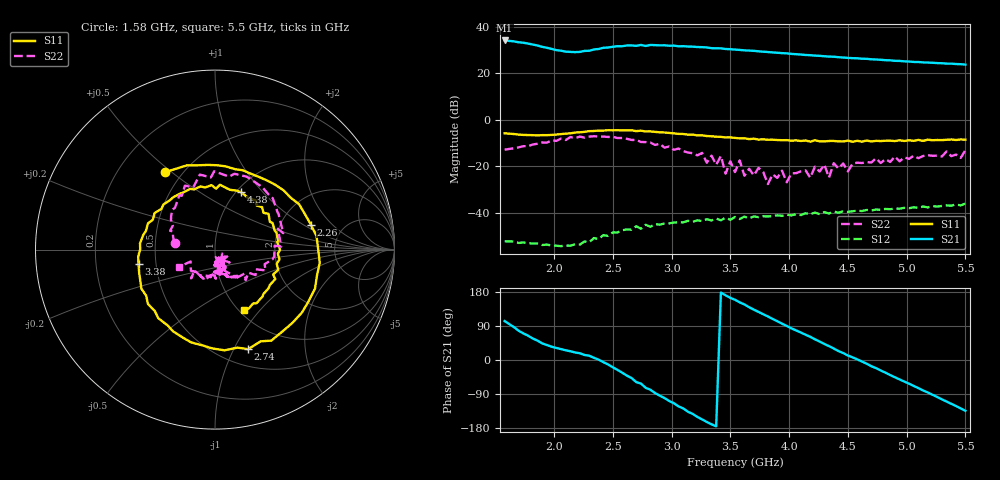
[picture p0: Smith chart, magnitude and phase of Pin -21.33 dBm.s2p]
! RsaToolbox (C) 2015 Rohde & Schwarz America
! Number of points: 98
! Number of ports: 2
! Balanced ports?: No
# Hz S RI R 50
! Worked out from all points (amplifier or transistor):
!   98 points, 1.58 GHz to 5.5 GHz, reference 50 ohm
!   highest |S21| = 34.2 dB at 1.58 GHz (marker M1)
!   |S21| within 3 dB of that: 2.465 GHz to 3.3 GHz (834.9 MHz wide, 29 % of centre)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
!   unconditionally stable (mu >= 1): start of sweep to end of sweep
!   at 2.26 GHz: K = 4.18, MAG = 31.8 dB, |S12| = -52.3 dB
!   at 3.58 GHz: K = 1.93, MAG = 30.9 dB, |S12| = -42.7 dB
!   at 5.5 GHz: K = 1.74, MAG = 24.9 dB, |S12| = -36.0 dB
!   S11 on the Smith chart (normalised r, x): 1.58 GHz: 0.41, +0.47; 2.26 GHz: 2.94, +1.18; 2.74 GHz: 0.68, -1.14; 3.38 GHz: 0.40, -0.08; 4.38 GHz: 1.05, +0.77; 5.5 GHz: 1.05, -0.82
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1.58e9  -0.2775 0.4317  -11.29 49.84  0.00116 -0.00213  -0.2256 0.035
1.7e9  -0.0996 0.4697  10.48 45.48  0.000557 -0.00217  -0.235 0.1011
1.82e9  0.0596 0.4638  22.92 34.83  -0.000155 -0.00216  -0.2451 0.1645
2.02e9  0.2921 0.3839  26.85 16.65  -0.000351 -0.00193  -0.1855 0.2994
2.26e9  0.5342 0.1391  29.62 6.908  -0.000736 -0.0023  0.0784 0.4064
2.38e9  0.5835 -0.0727  33.53 0.5427  -0.000885 -0.00257  0.2095 0.3851
2.54e9  0.4838 -0.3513  34.49 -16.88  -0.00226 -0.00301  0.3495 0.2055
2.74e9  0.1846 -0.5547  19.08 -36.2  -0.00419 -0.00171  0.3323 0.0211
2.9e9  -0.0654 -0.5349  -2.89 -39.92  -0.00553 -0.000136  0.282 -0.1159
3.02e9  -0.2334 -0.4556  -16.21 -36.21  -0.00591 0.00168  0.1864 -0.1285
3.14e9  -0.3351 -0.3425  -27.42 -25.96  -0.00598 0.00306  0.1145 -0.1609
3.26e9  -0.4106 -0.2167  -33.7 -14.4  -0.00452 0.00482  0.1184 -0.1542
3.38e9  -0.426 -0.0785  -34.55 -3.026  -0.0039 0.00643  0.0205 -0.1062
3.54e9  -0.399 0.0836  -30.35 11.67  -0.00155 0.00796  0.0119 -0.074
3.7e9  -0.3366 0.2037  -20.81 22.31  0.00111 0.00828  0.0216 -0.06
3.86e9  -0.2344 0.2907  -8.874 26.81  0.00385 0.00756  0.0168 -0.065
4.22e9  0.0272 0.3612  13.98 19.68  0.00938 0.00371  0.0628 -0.075
4.38e9  0.1453 0.3196  19.73 11.51  0.0106 0.000657  0.0534 -0.1038
4.58e9  0.2623 0.2371  21.12 0.6355  0.0106 -0.00335  0.0577 -0.1048
4.86e9  0.3522 0.0505  14.66 -12.21  0.00715 -0.00953  -0.0134 -0.1231
5.18e9  0.336 -0.1641  1.311 -17.05  0.000453 -0.013  -0.0632 -0.1621
5.5e9  0.1598 -0.338  -10.74 -11.09  -0.00909 -0.0129  -0.2004 -0.0965
